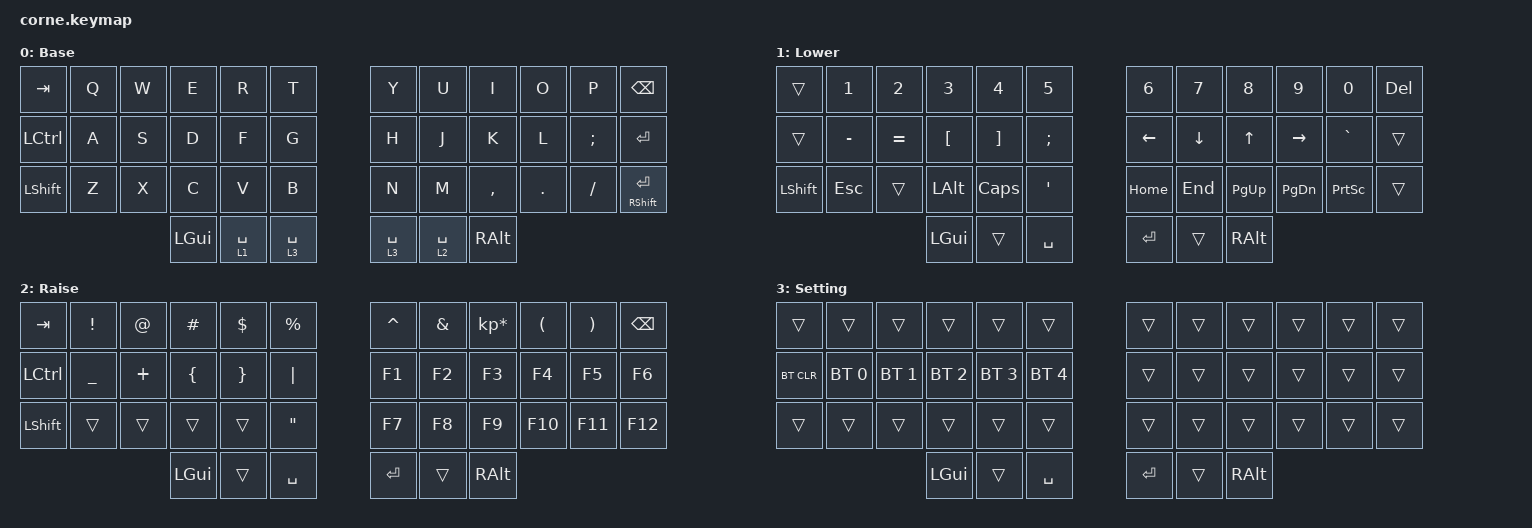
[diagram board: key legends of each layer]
/*
 * Copyright (c) 2020 The ZMK Contributors
 *
 * SPDX-License-Identifier: MIT
 */

#include <behaviors.dtsi>
#include <dt-bindings/zmk/keys.h>
#include <dt-bindings/zmk/bt.h>

/ {
        keymap {
                compatible = "zmk,keymap";

                default_layer {
// -----------------------------------------------------------------------------------------
// |  TAB |  Q  |  W  |  E  |  R  |  T  |   |  Y  |  U   |  I  |  O  |  P  | BKSP  |
// | CTRL |  A  |  S  |  D  |  F  |  G  |   |  H  |  J   |  K  |  L  |  ;  | ENTER |
// | SHFT |  Z  |  X  |  C  |  V  |  B  |   |  N  |  M   |  ,  |  .  |  /  | SHFTR |
//                    | GUI | LWR | SPC |   | SPC | RSE  | ALT |
                        display-name = "Base";
                        bindings = <
   &kp TAB   &kp Q &kp W &kp E &kp R &kp T   &kp Y &kp U  &kp I     &kp O   &kp P    &kp BSPC
   &kp LCTRL &kp A &kp S &kp D &kp F &kp G   &kp H &kp J  &kp K     &kp L   &kp SEMI &kp RET
   &kp LSHFT &kp Z &kp X &kp C &kp V &kp B   &kp N &kp M  &kp COMMA &kp DOT &kp FSLH &mt RSHFT RET
                  &kp LGUI &lt 1 SPACE &lt 3 SPACE   &lt 3 SPACE &lt 2 SPACE &kp RALT
                        >;
                };
                lower_layer {
// -----------------------------------------------------------------------------------------
// |      |  1  |  2  |  3  |  4  |  5  |   |  6  |  7  |  8   |  9     |  0     | DEL  |
// |      |  -  |  =  |  [  |  ]  |  ;  |   | LFT | DWN |  UP  | RGT    |  `     |      |
// |      | ESC |     | ALT |CAPS |  '  |   | HOME| END | PGUP | PGDOWN | PRNSCR |      |
//                    | GUI |     | SPC |   | ENT |     | ALT |
                        display-name = "Lower";
                        bindings = <
   &trans     &kp N1      &kp N2     &kp N3     &kp N4     &kp N5       &kp N6   &kp N7   &kp N8    &kp N9    &kp N0    &kp DEL
   &trans     &kp MINUS   &kp EQUAL  &kp LBKT   &kp RBKT   &kp SEMI     &kp LEFT &kp DOWN &kp UP    &kp RIGHT &kp GRAVE &trans
   &kp LSHFT  &kp ESC     &trans     &kp LALT   &kp CLCK   &kp APOS     &kp HOME &kp END  &kp PG_UP &kp PG_DN &kp PSCRN &trans
                                     &kp LGUI   &trans     &kp SPACE    &kp RET  &trans   &kp RALT
                        >;
                };

                raise_layer {
// -----------------------------------------------------------------------------------------
// |  TAB |  !  |  @  |  #  |  $  |  %  |   |  ^  |  &  |  *  |  (  |  )  | BKSP |
// | CTRL |  _  |  +  |  {  |  }  | "|" |   |  F1 |  F2 |  F3 |  F4 |  F5 |  F6  |
// | SHFT |     |     |     |     |  "  |   |  F7 |  F8 |  F9 | F10 | F11 |  F12 |
//                    | GUI |     | SPC |   | ENT |     | ALT |
                        display-name = "Raise";
                        bindings = <
   &kp  TAB  &kp EXCL   &kp AT   &kp HASH &kp DLLR &kp PRCNT   &kp CARET &kp AMPS  &kp KP_MULTIPLY &kp LPAR &kp RPAR &kp BSPC
   &kp LCTRL &kp UNDER  &kp PLUS &kp LBRC &kp RBRC &kp PIPE    &kp F1    &kp F2    &kp F3          &kp F4   &kp F5   &kp F6
   &kp LSHFT &trans     &trans   &trans   &trans   &kp DQT     &kp F7    &kp F8    &kp F9          &kp F10  &kp F11  &kp F12
                    	     &kp LGUI &trans   &kp SPACE   &kp RET   &trans    &kp RALT
                        >;
                };

                setting_layer {
// -----------------------------------------------------------------------------------------
// |      |     |     |     |     |     |   |      |     |     |     |     |     |
// | BTCLR| BT1 | BT2 | BT3 | BT4 | BT5 |   |      |     |     |     |     |     |
// | SHFT |     |     |     |     |     |   |      |     |     |     |     |     |
//                    | GUI |     | SPC |   | ENT |     | ALT |
                        display-name = "Setting";
                        bindings = <
   &trans     &trans       &trans       &trans       &trans       &trans         &trans       &trans       &trans       &trans       &trans  &trans
   &bt BT_CLR &bt BT_SEL 0 &bt BT_SEL 1 &bt BT_SEL 2 &bt BT_SEL 3 &bt BT_SEL 4   &trans       &trans       &trans       &trans       &trans  &trans
   &trans     &trans       &trans       &trans       &trans       &trans         &trans       &trans       &trans       &trans       &trans  &trans
                    	                &kp LGUI &trans   &kp SPACE   &kp RET   &trans    &kp RALT
                        >;
                };
        };
};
